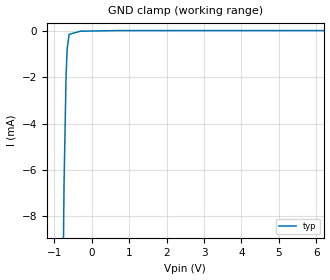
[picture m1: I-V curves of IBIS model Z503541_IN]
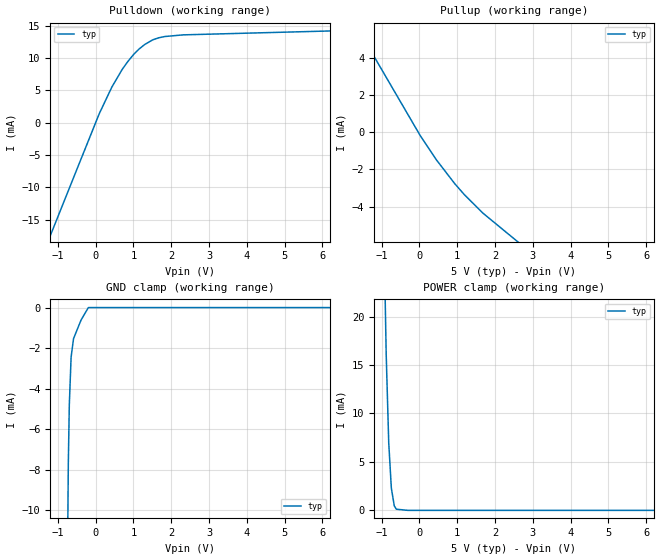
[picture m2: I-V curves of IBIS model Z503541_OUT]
| YOU ARE ONLY AUTHORIZED TO USE THIS SOFTWARE
| ACCORDING TO LICENSOR'S LICENSE RESTRICTIONS.
[IBIS Ver] 3.1
[File Name] mc14050bd.ibs
[File Rev] 2.0
[Source] Measured and created by ICX Technology
[Date] Friday 7/14/00 9:07:52 AM
[Copyright]
| (C) COPYRIGHT 1993-2000
| MENTOR GRAPHICS CORPORATION
| ICX STANDARD LIBRARY, ICX PROJECT MODELING,
| ICX CUSTOM MODELING, ICX VENDOR MODEL
| ALL RIGHTS RESERVED.
| THE FOLLOWING ARE TRADEMARKS OR SERVICE MARKS OF
| MENTOR GRAPHICS CORPORATION:ICX (R), ICX STANDARD
| LIBRARY(R), ICX PROJECT MODELING(R), ICX CUSTOM
| MODELING(R), qualityIBIS(TM), MODELVIEWER(TM),
| AND MODELEDITOR(TM)
| ALL COPIES OF SOFTWARE, INCLUDING BUT NOT LIMITED TO
| ANY MODIFICATIONS, ENHANCEMENTS OR DERIVATIVE WORKS,
| MUST CONTAIN ALL MENTOR GRAPHICS CORPORATION'S
| NOTICES AND LEGENDS, INCLUDING THOSE EMBEDDED IN
| SOFTWARE AND THOSE AFFIXED TO SOFTWARE MEDIUM
| AND CONTAINER, AS RECEIVED FROM MENTOR GRAPHICS
| CORPORATION.
|  ZAP Model Builder 2.7
[Component] MC14050BD
[Manufacturer] OnSemiconductor
[Package]
| variable   typ   min   max
R_pkg  .156ohms NA NA
L_pkg  3.148nH NA NA
C_pkg  .388pF NA NA
[Pin] signal_name  model_name  R_pin  L_pin C_pin
1 VDD POWER .162 3.798n .418p
2 OUT Z503541_OUT .158 3.358n .398p
3 IN Z503541_IN .154 2.928n .378p
4 OUT Z503541_OUT .15 2.508n .358p
5 IN Z503541_IN .15 2.508n .358p
6 OUT Z503541_OUT .154 2.928n .378p
7 IN Z503541_IN .158 3.358n .398p
8 VSS GND .162 3.798n .418p
9 IN Z503541_IN .162 3.798n .418p
10 OUT Z503541_OUT .158 3.358n .398p
11 IN Z503541_IN .154 2.928n .378p
12 OUT Z503541_OUT .15 2.508n .358p
13 NC NC .15 2.508n .358p
14 IN Z503541_IN .154 2.928n .378p
15 OUT Z503541_OUT .158 3.358n .398p
16 NC NC .162 3.798n .418p
| Models and submodels in the file (2): Z503541_IN (Input), Z503541_OUT (Output)
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| (C) COPYRIGHT 1993-2000
| MENTOR GRAPHICS CORPORATION
| ICX STANDARD LIBRARY, ICX PROJECT MODELING,
| ICX CUSTOM MODELING, ICX VENDOR MODEL
| ALL RIGHTS RESERVED.
| THE FOLLOWING ARE TRADEMARKS OR SERVICE MARKS OF
| MENTOR GRAPHICS CORPORATION:ICX (R), ICX STANDARD
| LIBRARY(R), ICX PROJECT MODELING(R), ICX CUSTOM
| MODELING(R), qualityIBIS(TM), MODELVIEWER(TM),
| AND MODELEDITOR(TM)
| ALL COPIES OF SOFTWARE, INCLUDING BUT NOT LIMITED TO
| ANY MODIFICATIONS, ENHANCEMENTS OR DERIVATIVE WORKS,
| MUST CONTAIN ALL MENTOR GRAPHICS CORPORATION'S
| NOTICES AND LEGENDS, INCLUDING THOSE EMBEDDED IN
| SOFTWARE AND THOSE AFFIXED TO SOFTWARE MEDIUM
| AND CONTAINER, AS RECEIVED FROM MENTOR GRAPHICS
| CORPORATION.
| Model Application Version 1.89 2/18/99.
[Model] Z503541_IN
Model_type Input
Vinl = 1.500V
Vinh = 3.500V
C_comp 4.000pF NA NA
| variable typ   min   max
[Voltage Range] 5.000V NA NA
[GND Clamp Reference] 0.000V NA NA
[POWER Clamp Reference] 5.000V NA NA
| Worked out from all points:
|   GND clamp passes 1 mA (typ) near -0.66 V on its own axis
[GND Clamp]
-5V       -695.2mA   NA         NA
-741.9mV  -6.626mA   NA         NA
-687.4mV  -1.913mA   NA         NA
-659.1mV  -799.5uA   NA         NA
-605.9mV  -149.7uA   NA         NA
-302.9mV  -12.04uA   NA         NA
724.8mV   14.66uA    NA         NA
10V       14.66uA    NA         NA
[POWER Clamp]
-5V       0A         NA         NA
10V       0A         NA         NA
| (C) COPYRIGHT 1993-2000
| MENTOR GRAPHICS CORPORATION
| ICX STANDARD LIBRARY, ICX PROJECT MODELING,
| ICX CUSTOM MODELING, ICX VENDOR MODEL
| ALL RIGHTS RESERVED.
| THE FOLLOWING ARE TRADEMARKS OR SERVICE MARKS OF
| MENTOR GRAPHICS CORPORATION:ICX (R), ICX STANDARD
| LIBRARY(R), ICX PROJECT MODELING(R), ICX CUSTOM
| MODELING(R), qualityIBIS(TM), MODELVIEWER(TM),
| AND MODELEDITOR(TM)
| ALL COPIES OF SOFTWARE, INCLUDING BUT NOT LIMITED TO
| ANY MODIFICATIONS, ENHANCEMENTS OR DERIVATIVE WORKS,
| MUST CONTAIN ALL MENTOR GRAPHICS CORPORATION'S
| NOTICES AND LEGENDS, INCLUDING THOSE EMBEDDED IN
| SOFTWARE AND THOSE AFFIXED TO SOFTWARE MEDIUM
| AND CONTAINER, AS RECEIVED FROM MENTOR GRAPHICS
| CORPORATION.
| Model Application Version 1.89 2/18/99.
[Model] Z503541_OUT
Model_type Output
Vref=0.000V
Rref=500.0Mohms
Cref=50.00pF
Vmeas=2.500V
C_comp 8.000pF NA NA
| variable typ   min   max
[Voltage Range] 5.000V NA NA
[POWER Clamp Reference] 5.000V NA NA
[Pullup Reference] 5.000V NA NA
[Pulldown Reference] 0.000V NA NA
[GND Clamp Reference] 0.000V NA NA
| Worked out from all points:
|   slope of the pulldown table from 0 to 0.75 V, typ, clamps not added: 87 ohm
|   slope of the pullup table from 0 to 0.75 V, typ, clamps not added: 346 ohm
|   GND clamp passes 1 mA (typ) near -0.47 V on its own axis
|   POWER clamp passes 1 mA (typ) near -0.69 V on its own axis
[GND Clamp]
-5V       -943mA     NA         NA
-722.7mV  -7.702mA   NA         NA
-696.7mV  -4.821mA   NA         NA
-649.4mV  -2.46mA    NA         NA
-585.6mV  -1.538mA   NA         NA
-385.7mV  -616.5uA   NA         NA
-192.8mV  0A         NA         NA
10V       0A         NA         NA
[Pulldown]
-5V       -72.78mA   NA         NA
93.12mV   1.369mA    NA         NA
430.1mV   5.528mA    NA         NA
703.6mV   8.257mA    NA         NA
849.5mV   9.451mA    NA         NA
1.151V    11.41mA    NA         NA
1.304V    12.12mA    NA         NA
1.515V    12.83mA    NA         NA
1.826V    13.33mA    NA         NA
2.325V    13.59mA    NA         NA
10V       14.78mA    NA         NA
[Pullup]
-5V       17.28mA    NA         NA
24mV      -195uA     NA         NA
449mV     -1.487mA   NA         NA
937mV     -2.773mA   NA         NA
1.191V    -3.362mA   NA         NA
1.679V    -4.348mA   NA         NA
10V       -18.23mA   NA         NA
[POWER Clamp]
-5V       889.5mA    NA         NA
-878mV    16.1mA     NA         NA
-811mV    6.976mA    NA         NA
-742mV    2.295mA    NA         NA
-664mV    461.3uA    NA         NA
-610mV    121.1uA    NA         NA
-305mV    0A         NA         NA
10V       0A         NA         NA
[Ramp]
| variable typ min max
dV/dt_r 2.665/15.56n NA NA
dV/dt_f 2.665/10.63n NA NA
R_load = 2.500kOhms
